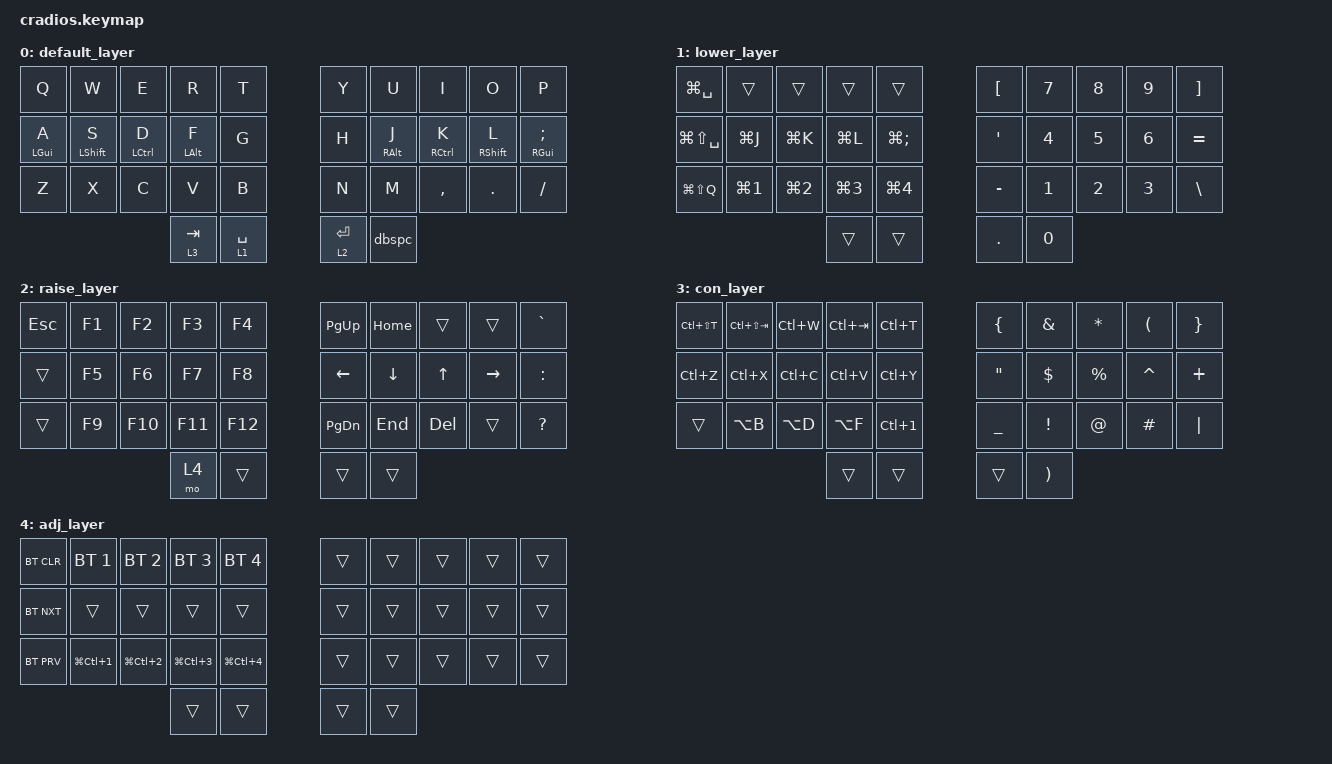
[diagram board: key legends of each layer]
/*
 * Copyright (c) 2020 The ZMK Contributors
 *
 * SPDX-License-Identifier: MIT
 */

#include <behaviors.dtsi>
#include <dt-bindings/zmk/keys.h>
#include <dt-bindings/zmk/bt.h>

&lt { quick_tap_ms = <200>; };

/ {
    behaviors {
      hm: homerow_mods {
        compatible = "zmk,behavior-hold-tap";
        label = "HOMEROW_MODS";
        #binding-cells = <2>;
        tapping-term-ms = <230>;
        quick_tap_ms = <0>;
        flavor = "tap-preferred";
        bindings = <&kp>, <&kp>;
      };
      gresc: grave_escape {
        compatible = "zmk,behavior-mod-morph";
        label = "GRAVE_ESCAPE";
        #binding-cells = <0>;
        bindings = <&kp ESC>, <&kp GRAVE>;
        mods = <(MOD_LGUI|MOD_LSFT|MOD_RGUI|MOD_RSFT)>;
      };
      dbspc: del_backspace {
        compatible = "zmk,behavior-mod-morph";
        label = "DEL_BACKSPACE";
        #binding-cells = <0>;
        bindings = <&kp BSPC>, <&kp DEL>;
        mods = <(MOD_LSFT|MOD_RSFT)>;
      };
    };
    keymap {
      compatible = "zmk,keymap";
      default_layer {
        bindings = <
    &kp Q       &kp W        &kp E        &kp R       &kp T                &kp Y      &kp U       &kp I          &kp O         &kp P
    &hm LGUI A  &hm LSHFT S  &hm LCTRL D  &hm LALT F  &kp G                &kp H      &hm RALT J  &hm RCTRL K    &hm RSHFT L   &hm RGUI SEMI
    &kp Z       &kp X        &kp C        &kp V       &kp B                &kp N      &kp M       &kp COMMA      &kp DOT       &kp FSLH
                                          &lt 3 TAB   &lt 1 SPC            &lt 2 RET  &dbspc
        >;
      };
      lower_layer {
        bindings = <
    &kp LG(SPC)     &trans      &trans      &trans     &trans             &kp LBKT  &kp N7  &kp N8 &kp N9 &kp RBKT
    &kp LG(LS(SPC)) &kp LG(J)   &kp LG(K)   &kp LG(L)  &kp LG(SEMI)       &kp SQT   &kp N4	&kp N5 &kp N6 &kp EQUAL
    &kp LG(LS(Q))   &kp LG(N1)  &kp LG(N2)  &kp LG(N3) &kp LG(N4)         &kp MINUS &kp N1  &kp N2 &kp N3 &kp BSLH
                                            &trans     &trans             &kp DOT   &kp N0
        >;
      };
      raise_layer {
        bindings = <
    &kp ESC  &kp F1		&kp F2   &kp F3 	&kp F4     &kp PG_UP   &kp HOME 	&trans   &trans 		&kp GRAVE
    &trans   &kp F5		&kp F6   &kp F7 	&kp	F8     &kp LEFT    &kp DOWN 	&kp UP   &kp RIGHT 	&kp COLON
    &trans   &kp F9		&kp F10  &kp F11 	&kp F12    &kp PG_DN   &kp END 	  &kp DEL  &trans 	  &kp QMARK
                               &mo 4    &trans     &trans     &trans
        >;
      };
      con_layer {
          bindings = <
    &kp LC(LS(T)) &kp LC(LS(TAB)) &kp LC(W) &kp LC(TAB) &kp LC(T)     &kp LBRC  &kp AMPS  &kp ASTRK  &kp LPAR  &kp RBRC
    &kp LC(Z)     &kp LC(X)       &kp LC(C) &kp LC(V)   &kp LC(Y)     &kp DQT   &kp DLLR  &kp PRCNT  &kp CARET &kp PLUS
    &trans        &kp LA(B)       &kp LA(D) &kp LA(F)   &kp LC(N1)    &kp UNDER &kp EXCL  &kp AT     &kp HASH  &kp PIPE
                                            &trans      &trans        &trans    &kp RPAR
          >;
        };
      adj_layer {
          bindings = <
    &bt BT_CLR &bt BT_SEL 1    &bt BT_SEL 2   &bt BT_SEL 3   &bt BT_SEL 4     &trans    &trans    &trans    &trans    &trans
    &bt BT_NXT &trans          &trans         &trans    		 &trans    				&trans    &trans    &trans    &trans    &trans
    &bt BT_PRV &kp LG(LC(N1))  &kp LG(LC(N2)) &kp LG(LC(N3)) &kp LG(LC(N4))   &trans    &trans    &trans    &trans    &trans
                              								&trans    		 &trans    				&trans    &trans
          >;
        };
    };
};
